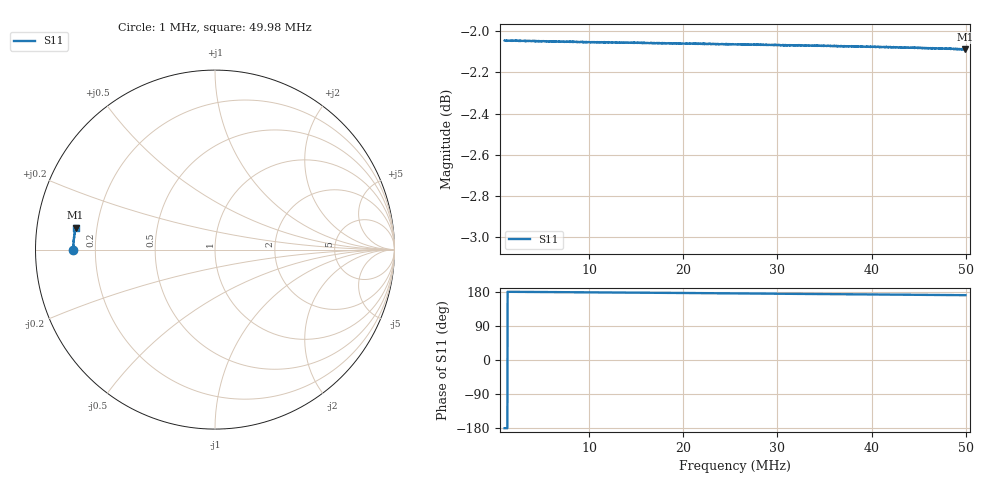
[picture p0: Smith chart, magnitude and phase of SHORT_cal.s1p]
! Created with skrf (http://scikit-rf.org).
# Hz S RI R 50.0
!freq ReS11 ImS11
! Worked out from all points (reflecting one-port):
!   2000 points, 1 MHz to 49.98 MHz, reference 50 ohm
!   lowest |S11| = -2.1 dB at 49.9 MHz (marker M1), VSWR 8.36, Z = 6.02 + j3.86 ohm
!   phase of S11 starts at -180 deg and turns -9 deg over the sweep
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1000000  -0.7902 -0.000911
1220500  -0.7901 -0.000221
2421000  -0.7902 0.00278
4136000  -0.7899 0.00691
7125000  -0.7897 0.014
9599500  -0.7893 0.0196
1.178e7  -0.7891 0.0245
1.325e7  -0.7888 0.0278
1.5014e7  -0.7886 0.032
1.9375e7  -0.7878 0.0418
2.3442e7  -0.787 0.0513
2.55e7  -0.7866 0.0563
2.7117e7  -0.7861 0.0603
2.8636e7  -0.7857 0.0639
3.04735e7  -0.7852 0.0686
3.1625e7  -0.7848 0.0715
3.45895e7  -0.7839 0.0793
3.775e7  -0.7828 0.0879
3.8779e7  -0.7823 0.0907
4.118e7  -0.7813 0.0973
4.2552e7  -0.7808 0.1012
4.3875e7  -0.78 0.1049
4.461e7  -0.7798 0.1071
4.77215e7  -0.7781 0.116
4.9363e7  -0.7771 0.1206
4.97305e7  -0.7769 0.1216
4.9902e7  -0.7767 0.1223
4.99755e7  -0.7769 0.1224
